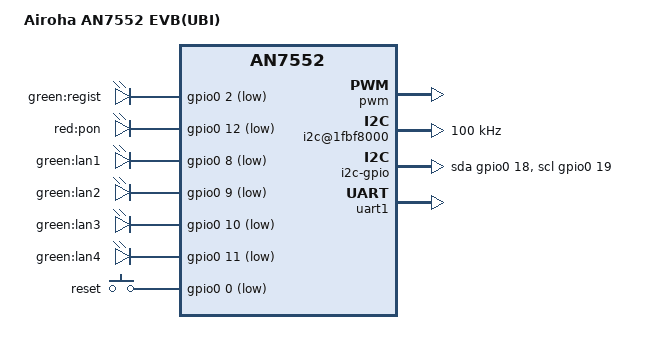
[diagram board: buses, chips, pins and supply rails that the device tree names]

/dts-v1/;

#include <dt-bindings/interrupt-controller/irq.h>
#include <dt-bindings/interrupt-controller/arm-gic.h>
#include <dt-bindings/gpio/gpio.h>
#include <dt-bindings/input/input.h>
#include <dt-bindings/thermal/thermal.h>

#include "en7552.dtsi"

/ {
	model = "Airoha AN7552 EVB(UBI)";
	compatible = "airoha,an7552-evb-ubi", "econet,en7523", "airoha,en7523", "econet,en7552", "airoha,an7552";
	#address-cells = <1>;
	#size-cells = <1>;

	chosen {
		bootargs = "console=ttyS0,115200n8 earlycon=uart8250,mmio32,0x1fbf0000 ubi.mtd=2 ubi.block=0,fit root=/dev/fit0 rootwait";
		rootdisk = <&ubi_fit>;
		rootdisk-devname = "ubiblock0_2";
	};

	gpio0: gpio@1fbf0200 {
		compatible = "airoha,airoha-gpio";
		gpio_base = <0>;
		reg = <0x1fbf0204 0x4>,
		      <0x1fbf0200 0x4>,
		      <0x1fbf0220 0x4>,
		      <0x1fbf0214 0x4>;
		gpio-controller;
		#gpio-cells = <2>;
	};

	gpio1: gpio@1fbf0270 {
		compatible = "airoha,airoha-gpio";
		gpio_base = <32>;
		reg = <0x1fbf0270 0x4>,
		      <0x1fbf0260 0x4>,
		      <0x1fbf0264 0x4>,
		      <0x1fbf0278 0x4>;
		gpio-controller;
		#gpio-cells = <2>;
	};
	
	pwm: pwm@1fbf0234{
		compatible = "airoha,airoha-pwm";
		reg = <0x1fbf0234 0x20>,
		      <0x1fbf0268 0x4>,
		      <0x1fbf0298 0x24>;
	};

	leds {
		compatible = "gpio-leds";

		regist_green {
			label = "green:regist";
			gpios = <&gpio0 2 GPIO_ACTIVE_LOW>;
			default-state = "off";
		};
		pon_red {
			label = "red:pon";
			gpios = <&gpio0 12 GPIO_ACTIVE_LOW>;
			default-state = "off";
		};

		lan1_green {
			label = "green:lan1";
			gpios = <&gpio0 8 GPIO_ACTIVE_LOW>;
			default-state = "off";
		};

		lan2_green {
			label = "green:lan2";
			gpios = <&gpio0 9 GPIO_ACTIVE_LOW>;
			default-state = "off";
		};

		lan3_green {
			label = "green:lan3";
			gpios = <&gpio0 10 GPIO_ACTIVE_LOW>;
			default-state = "off";
		};

		lan4_green {
			label = "green:lan4";
			gpios = <&gpio0 11 GPIO_ACTIVE_LOW>;
			default-state = "off";
		};
	};
	
	gpio-keys-polled {
		compatible = "gpio-keys-polled";
		poll-interval = <100>;
		
		reset {
			label = "reset";
			linux,code = <KEY_RESTART>;
			gpios = <&gpio0 0 GPIO_ACTIVE_LOW>;
		};
	};

	partitions {
		compatible = "fixed-partitions";
		#address-cells = <1>;
		#size-cells = <1>;

		partition@0 {
			label = "bl2";
			reg = <0x0 0x20000>;
			read-only;
		};

		partition@20000 {
			label = "ubi";
			reg = <0x20000 0xffe0000>;
			compatible = "linux,ubi";

			volumes {
				ubi-volume-romfile {
					volname = "romfile";
					read-only;
				};

				ubi-volume-art {
					volname = "art";
					read-only;

					nvmem-layout {
						compatible = "fixed-layout";
						#address-cells = <1>;
						#size-cells = <1>;

						eeprom0: eeprom@0 {
							reg = <0x0 0x1000>;
						};
					};
				};

				ubi_fit: ubi-volume-fit {
					volname = "fit";
				};

				ubi-volume-fip {
					volname = "fip";
				};

				ubi_env: ubi-volume-ubootenv {
					volname = "ubootenv";
					nvmem-layout {
						compatible = "u-boot,env-redundant-bool";
						env-size = <0x40000>;
					};
				};

				ubi_env2: ubi-volume-ubootenv2 {
					volname = "ubootenv2";
					nvmem-layout {
						compatible = "u-boot,env-redundant-bool";
						env-size = <0x40000>;
					};
				};
			};
		};
	};

	i2c@1fbf8000 {
		compatible = "airoha,airoha-i2c";
		reg = <0x1fbf8000 0x65>;
		clock-frequency = <100000>;
	};
	i2c-gpio {
		compatible = "i2c-gpio";
		sda-gpios = <&gpio0 18 GPIO_ACTIVE_HIGH>;
		scl-gpios = <&gpio0 19 GPIO_ACTIVE_HIGH>;
		i2c-gpio,delay-us = <2>;
		#address-cells = <0>;
		#size-cells = <0>;
	};
	airoha-trng@1faa1000 {
		compatible = "airoha,airoha-trng";
		reg = <0x1faa1000 0xc04>;
		interrupts = <GIC_SPI 35 IRQ_TYPE_LEVEL_HIGH>;
	};
	thermal-zones {
		cpu_thermal: cpu-thermal {
			polling-delay-passive = <200>;
			polling-delay = <1000>;
			thermal-sensors = <&thermal_phy 0>;
			trips {
				cpu_passive: cpu-passive {
					temperature = <125000>;
					hysteresis = <0>;
					type = "passive";
				};
			};
			cooling-maps {
				map0 {
					trip = <&cpu_passive>;
					cooling-device = <&cpu0 THERMAL_NO_LIMIT THERMAL_NO_LIMIT>,
							 <&cpu1 THERMAL_NO_LIMIT THERMAL_NO_LIMIT>;
				};
			};
		};
	};
	thermal_phy: thermal_phy@1efbd000 {
		#thermal-sensor-cells = <0>;
		compatible = "airoha,en7552-thermal_phy";		
		reg = <0x1efbd000 0x0fff>; //ptp_thermal_ctrl
		int_name = "ptp_therm";
	};
	uart1: serial@1fbf0000 {
		compatible = "ns8250";
		reg = <0x1fbf0000 0x30>;
		reg-io-width = <4>;
		reg-shift = <2>;
		interrupts = <GIC_SPI 18 IRQ_TYPE_LEVEL_HIGH>;
		clock-frequency = <1843200>;
		status = "okay";
	};
	crypto_eip93@1fb70000 {
		compatible = "airoha,airoha-eip93";
		reg = <0x1fb70000 0x804>;
		interrupts = <GIC_SPI 44 IRQ_TYPE_LEVEL_HIGH>;			
	};

};
